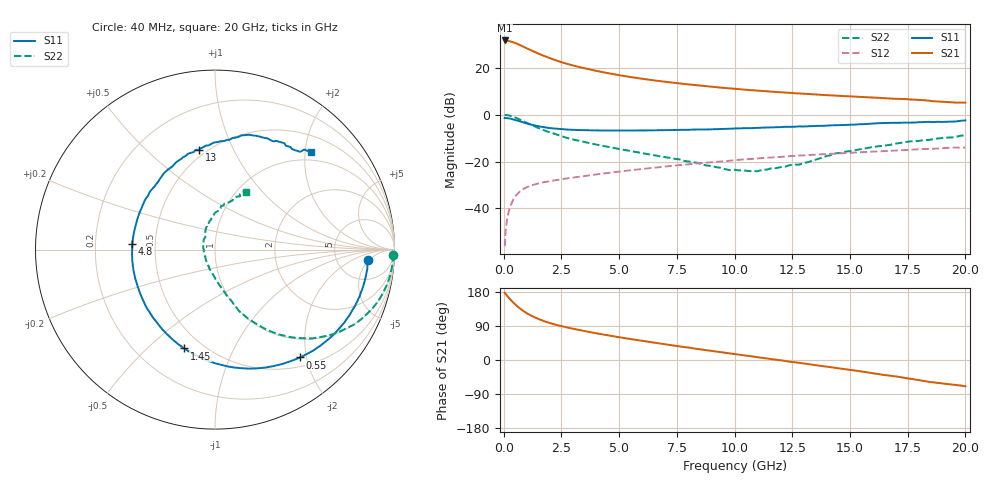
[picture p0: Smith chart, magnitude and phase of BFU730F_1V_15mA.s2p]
! Filename:  P:\Prog\Test\Noise\ATS_data\Testdata_Net\Split files Spar\BFU730_2W_B1_1V_1mA_30mA_Bias7_D.s2p
! Date/Time: Fri 29/Apr/2011 14:16:19
! BFU730_2W_B1_1V_1mA_30mA_Bias7_R.s2p
! MDIF S-parameter v. bias file
! BFU730_2W_B1_1V_1mA_30mA
! Date/time Thu Mar 17 14:34:31 2011
! VAR V_out= 1.0000
! VAR I_out= 15.0000
! VAR V_in= 0.8202
! VAR I_in= 0.0487
! Device data file deembeded for feedlines and parallel
! Original file: \Split files Spar\BFU730_2W_B1_1V_1mA_30mA_Bias7_R.s2p
! Feed-files: PR003V01_101208_Feed1.s2p, PR003V01_101208_Feed2.s2p
! Parallel-file: PR003V01_101208_Par.s2p
# MHz S MA R 50
!  Freq-MHz  S11-mag  S11-arg  S21-mag  S21-arg  S12-mag  S12-arg  S22-mag  S22-arg
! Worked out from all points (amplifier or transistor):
!   167 points, 40 MHz to 20 GHz, reference 50 ohm
!   highest |S21| = 31.8 dB at 50 MHz (marker M1)
!   |S21| within 3 dB of that: start of sweep to 923.5 MHz
!   unconditionally stable (mu >= 1): 4.886 GHz to 16.9 GHz
!   at 550 MHz: K = 0.17, MSG = 32.4 dB, |S12| = -34.3 dB
!   at 4.2 GHz: K = 0.94, MSG = 21.8 dB, |S12| = -25.2 dB
!   at 20 GHz: K = 0.91, MSG = 9.6 dB, |S12| = -14.0 dB
!   S11 on the Smith chart (normalised r, x): 40 MHz: 11, -5; 550 MHz: 0.65, -1.89; 1.45 GHz: 0.40, -0.66; 4.8 GHz: 0.37, +0.03; 13 GHz: 0.46, +0.74; 20 GHz: 0.82, +2.11
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40  0.8568 -4.0  38.74 177.5  0.001564 87.8  0.9902 -1.6
50  0.8521 -5.6  38.82 176.3  0.001614 89.2  0.9903 -2.5
60  0.8532 -5.8  38.27 175.7  0.002325 92.0  0.9921 -3.0
80  0.8547 -8.0  38.72 174.4  0.003123 86.3  0.992 -4.4
180  0.8467 -17.9  38.08 167.2  0.007062 81.7  0.98 -10.7
300  0.827 -29.5  36.86 158.8  0.01152 75.9  0.9518 -17.9
420  0.7985 -40.7  35.45 151.2  0.01554 70.5  0.9096 -24.4
550  0.7655 -51.7  33.42 143.7  0.0193 65.1  0.8541 -30.8
750  0.7135 -67.2  30.2 133.8  0.02399 58.4  0.7701 -39.1
1000  0.6553 -83.6  26.38 123.6  0.0284 52.4  0.6734 -47.0
1250  0.6068 -97.6  23.1 115.3  0.03166 48.3  0.5908 -53.1
1450  0.5769 -107.2  20.9 109.7  0.03374 45.9  0.5347 -56.9
1850  0.5334 -123.1  17.34 100.5  0.03725 42.9  0.4481 -62.7
2250  0.5053 -135.6  14.67 93.2  0.04026 41.3  0.3845 -67.2
3400  0.4707 -161.7  10.14 77.6  0.04864 39.1  0.2699 -75.1
4800  0.4619 176.0  7.327 62.1  0.05975 36.9  0.1954 -83.6
6800  0.4688 152.6  5.227 43.3  0.07679 31.9  0.1299 -97.5
10200  0.5153 121.9  3.544 14.0  0.1094 18.8  0.06498 -157.8
13000  0.564 99.1  2.825 -9.2  0.1362 4.5  0.09335 124.7
13400  0.5742 96.7  2.743 -12.7  0.1406 2.1  0.1062 120.9
16800  0.6742 70.2  2.22 -41.8  0.1709 -17.0  0.2319 82.4
20000  0.7602 45.6  1.821 -69.5  0.1998 -37.4  0.364 62.1
